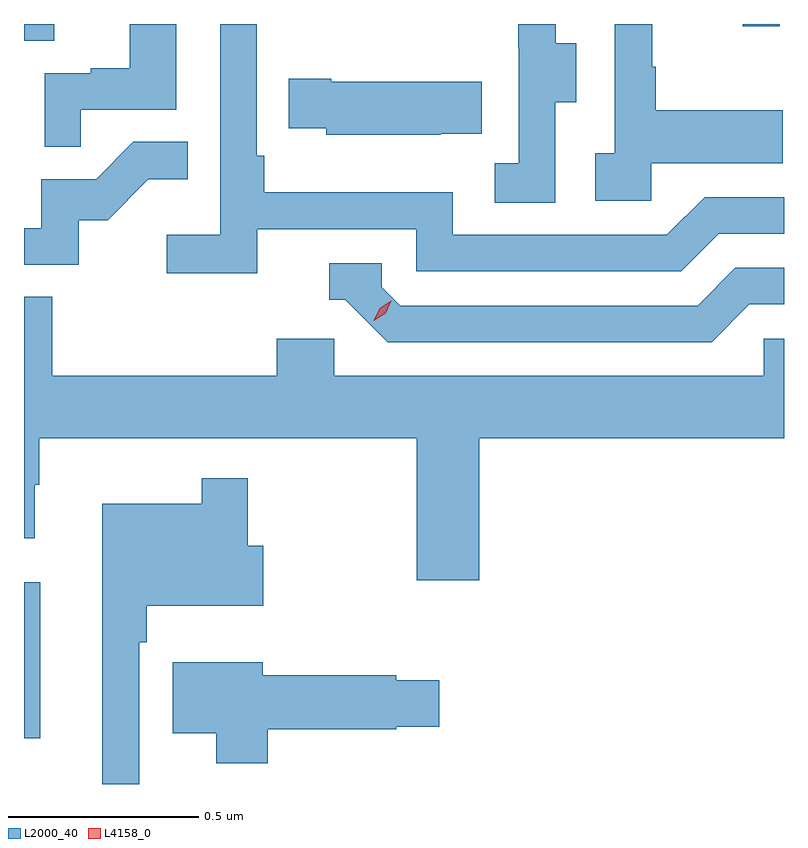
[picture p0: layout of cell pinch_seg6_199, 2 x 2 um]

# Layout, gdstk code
import gdstk
lib = gdstk.Library(unit=1e-6, precision=1e-09)
def R(c, l, rs):  # rectangles x0, y0, x1, y1
    for r in rs: c.add(gdstk.rectangle(r[:2], r[2:], *l))
def P(c, l, *ps):  # polygons
    for p in ps: c.add(gdstk.Polygon(p, *l))
L2000_40 = (2000, 40)
L4158_0 = (4158, 0)

pinch_seg6_199 = lib.new_cell('pinch_seg6_199')
R(pinch_seg6_199, L2000_40, [(1039.098,926.567,1039.141,926.977), (1039.098,928.402,1039.177,928.446), (1040.99,928.44,1041.087,928.446)])
P(pinch_seg6_199, L2000_40, [(1039.712,927.906),(1040.13,927.906),(1040.13,927.795),(1040.827,927.795),(1040.926,927.894),(1041.098,927.894),(1041.098,927.99),(1040.889,927.99),(1040.79,927.891),(1040.226,927.891),(1040.226,928.003),(1039.73,928.003),(1039.73,928.099),(1039.71,928.099),(1039.71,928.446),(1039.614,928.446),(1039.614,927.892),(1039.473,927.892),(1039.473,927.79),(1039.712,927.79)],
  [(1040.496,928.24),(1040.551,928.24),(1040.551,928.395),(1040.497,928.395),(1040.497,928.446),(1040.399,928.446),(1040.399,928.383),(1040.4,928.383),(1040.4,928.079),(1040.337,928.079),(1040.337,927.976),(1040.496,927.976)],
  [(1040.748,928.079),(1041.095,928.079),(1041.095,928.219),(1040.761,928.219),(1040.761,928.334),(1040.751,928.334),(1040.751,928.446),(1040.652,928.446),(1040.652,928.106),(1040.601,928.106),(1040.601,927.981),(1040.748,927.981)],
  [(1039.247,928.221),(1039.498,928.221),(1039.498,928.446),(1039.376,928.446),(1039.376,928.33),(1039.273,928.33),(1039.273,928.317),(1039.152,928.317),(1039.152,928.123),(1039.247,928.123)],
  [(1040.195,928.157),(1040.303,928.157),(1040.303,928.294),(1039.906,928.294),(1039.906,928.302),(1039.795,928.302),(1039.795,928.172),(1039.893,928.172),(1039.893,928.154),(1040.195,928.154)],
  [(1039.242,927.93),(1039.318,927.93),(1039.425,928.037),(1039.529,928.037),(1039.529,928.136),(1039.386,928.136),(1039.288,928.038),(1039.143,928.038),(1039.143,927.909),(1039.098,927.909),(1039.098,927.813),(1039.242,927.813)],
  [(1041.007,927.708),(1041.098,927.708),(1041.098,927.804),(1040.97,927.804),(1040.871,927.705),(1040.088,927.705),(1040.04,927.753),(1040.04,927.816),(1039.901,927.816),(1039.901,927.72),(1039.944,927.72),(1040.055,927.609),(1040.908,927.609)],
  [(1040.296,927.356),(1041.098,927.356),(1041.098,927.618),(1041.045,927.618),(1041.045,927.52),(1039.914,927.52),(1039.914,927.618),(1039.763,927.618),(1039.763,927.52),(1039.172,927.52),(1039.172,927.728),(1039.098,927.728),(1039.098,927.093),(1039.126,927.093),(1039.126,927.233),(1039.138,927.233),(1039.138,927.356),(1040.132,927.356),(1040.132,926.982),(1040.296,926.982)],
  [(1039.401,926.819),(1039.421,926.819),(1039.421,926.915),(1039.728,926.915),(1039.728,927.073),(1039.687,927.073),(1039.687,927.25),(1039.566,927.25),(1039.566,927.184),(1039.304,927.184),(1039.304,926.446),(1039.401,926.446)],
  [(1039.739,926.59),(1040.078,926.59),(1040.078,926.597),(1040.191,926.597),(1040.191,926.719),(1040.078,926.719),(1040.078,926.732),(1039.726,926.732),(1039.726,926.767),(1039.49,926.767),(1039.49,926.579),(1039.604,926.579),(1039.604,926.501),(1039.739,926.501)])
P(pinch_seg6_199, L4158_0, [(1040.019,927.665),(1040.019,927.666),(1040.034,927.698),(1040.065,927.718),(1040.065,927.718),(1040.065,927.718),(1040.05,927.685),(1040.019,927.665)])

lib.write_gds('pinch_seg6_199.gds')
